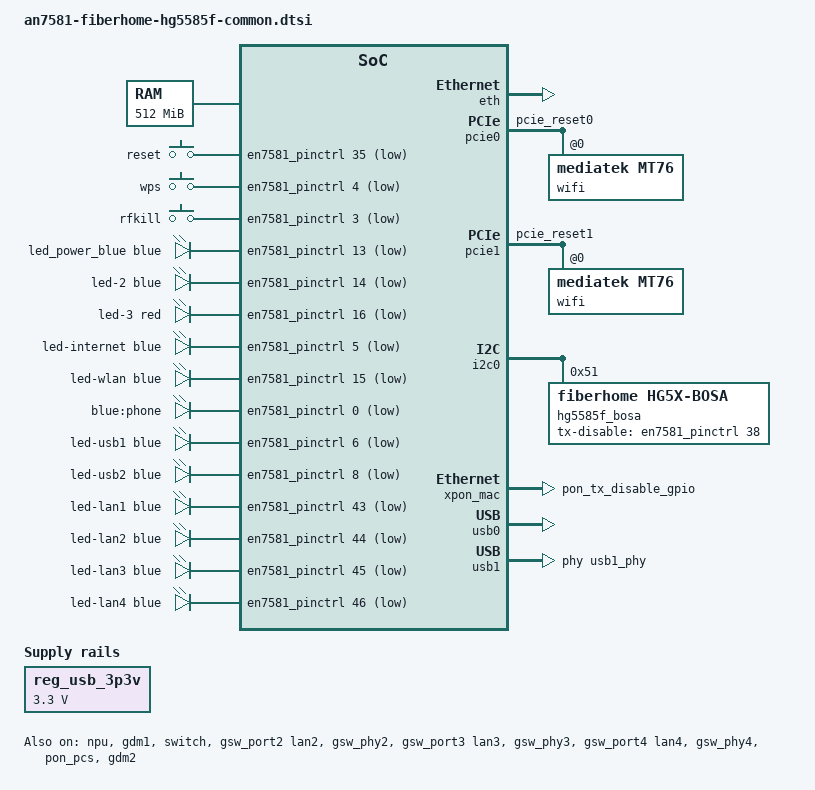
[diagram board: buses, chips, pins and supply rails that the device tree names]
// SPDX-License-Identifier: (GPL-2.0-only OR BSD-2-Clause)

/* Firmware reserves the first 2 MiB of DRAM. */
/memreserve/ 0x80000000 0x200000;

#include <dt-bindings/gpio/gpio.h>
#include <dt-bindings/input/input.h>
#include <dt-bindings/leds/common.h>
#include "an7581.dtsi"
#include "an7581-fiberhome-ubi-parts.dtsi"

/* Board resources shared by the FiberHome HG5585F variants. */

/ {
	aliases {
		/* OpenWrt diag state controls the power LED. */
		led-boot = &led_power_blue;
		led-failsafe = &led_power_blue;
		led-running = &led_power_blue;
		led-upgrade = &led_power_blue;

		serial0 = &uart1;
	};

	chosen {
		/* fitblk locates the FIT-embedded read-only rootfs through this volume. */
		rootdisk = <&ubi_fit>;
		bootargs = "console=ttyS0,115200 earlycon";
		stdout-path = "serial0:115200n8";
	};

	memory@80000000 {
		device_type = "memory";
		reg = <0x0 0x80000000 0x0 0x20000000>;
	};

	reg_usb_3p3v: regulator-usb-3p3v {
		compatible = "regulator-fixed";
		regulator-always-on;
		regulator-boot-on;
		regulator-min-microvolt = <3300000>;
		regulator-max-microvolt = <3300000>;
		regulator-name = "usb-3.3V";
	};

	keys {
		compatible = "gpio-keys";

		key-reset {
			label = "reset";
			linux,code = <KEY_RESTART>;
			/*
			 * The reset key drives GPIO35 low, i.e. GPIO_DATA1 bit 3.
			 * Keep this in sync with the U-Boot copy, which starts
			 * HTTP recovery when the key is held during boot. GPIO0 is
			 * the uart1_txd pin and never sees the key.
			 */
			gpios = <&en7581_pinctrl 35 GPIO_ACTIVE_LOW>;
			debounce-interval = <60>;
		};

		/* Handled by /etc/rc.button/wps. */
		key-wps {
			label = "wps";
			linux,code = <KEY_WPS_BUTTON>;
			gpios = <&en7581_pinctrl 4 GPIO_ACTIVE_LOW>;
			debounce-interval = <60>;
		};

		/* Handled by /etc/rc.button/rfkill, toggles the WLAN radio. */
		key-rfkill {
			label = "rfkill";
			linux,code = <KEY_RFKILL>;
			gpios = <&en7581_pinctrl 3 GPIO_ACTIVE_LOW>;
			debounce-interval = <60>;
		};
	};

	leds {
		compatible = "gpio-leds";

		/*
		 * All panel LEDs are active low. The CU variant is green and
		 * the CT variant is blue, so every LED is named blue here:
		 * only the sysfs name differs, not the wiring.
		 */

		/* Active-low power LED on GPIO13. */
		led_power_blue: led-0 {
			color = <LED_COLOR_ID_BLUE>;
			function = LED_FUNCTION_POWER;
			gpios = <&en7581_pinctrl 13 GPIO_ACTIVE_LOW>;
		};

		/* PON registration maps O1-O3 to fast blink, O4 to slow blink, and O5 on. */
		led-2 {
			color = <LED_COLOR_ID_BLUE>;
			function = LED_FUNCTION_WAN;
			gpios = <&en7581_pinctrl 14 GPIO_ACTIVE_LOW>;
			linux,default-trigger = "pon0-registration";
		};

		/* The LOS LED follows optical signal loss. */
		led-3 {
			color = <LED_COLOR_ID_RED>;
			function = LED_FUNCTION_WAN;
			gpios = <&en7581_pinctrl 16 GPIO_ACTIVE_LOW>;
			linux,default-trigger = "pon0-los";
		};

		/* Internet / broadband, follows the xPON online state. */
		led-internet {
			color = <LED_COLOR_ID_BLUE>;
			function = LED_FUNCTION_WAN_ONLINE;
			gpios = <&en7581_pinctrl 5 GPIO_ACTIVE_LOW>;
			linux,default-trigger = "pon0-online";
		};

		/* Lit while the WLAN radio is up. */
		led-wlan {
			color = <LED_COLOR_ID_BLUE>;
			function = LED_FUNCTION_WLAN;
			gpios = <&en7581_pinctrl 15 GPIO_ACTIVE_LOW>;
			linux,default-trigger = "phy0radio";
		};

		/* POTS line indicator. */
		led-phone {
			label = "blue:phone";
			gpios = <&en7581_pinctrl 0 GPIO_ACTIVE_LOW>;
		};

		/* USB2.0 port, marked USB1 on the silkscreen. */
		led-usb1 {
			color = <LED_COLOR_ID_BLUE>;
			function = LED_FUNCTION_USB;
			function-enumerator = <1>;
			gpios = <&en7581_pinctrl 6 GPIO_ACTIVE_LOW>;
		};

		/* USB3.0 port, marked USB2 on the silkscreen. */
		led-usb2 {
			color = <LED_COLOR_ID_BLUE>;
			function = LED_FUNCTION_USB;
			function-enumerator = <2>;
			gpios = <&en7581_pinctrl 8 GPIO_ACTIVE_LOW>;
		};

		/*
		 * Four panel GE ports. The netdev trigger needs a device name,
		 * so it is set in board.d/01_leds instead.
		 */
		led-lan1 {
			color = <LED_COLOR_ID_BLUE>;
			function = LED_FUNCTION_LAN;
			function-enumerator = <1>;
			gpios = <&en7581_pinctrl 43 GPIO_ACTIVE_LOW>;
		};

		led-lan2 {
			color = <LED_COLOR_ID_BLUE>;
			function = LED_FUNCTION_LAN;
			function-enumerator = <2>;
			gpios = <&en7581_pinctrl 44 GPIO_ACTIVE_LOW>;
		};

		led-lan3 {
			color = <LED_COLOR_ID_BLUE>;
			function = LED_FUNCTION_LAN;
			function-enumerator = <3>;
			gpios = <&en7581_pinctrl 45 GPIO_ACTIVE_LOW>;
		};

		led-lan4 {
			color = <LED_COLOR_ID_BLUE>;
			function = LED_FUNCTION_LAN;
			function-enumerator = <4>;
			gpios = <&en7581_pinctrl 46 GPIO_ACTIVE_LOW>;
		};
	};
};

&en7581_pinctrl {
	/* GPIO0 starts at pin 13 on AN7581. */
	gpio-ranges = <&en7581_pinctrl 0 13 50>;

	pon_pins: pon-pins {
		mux {
			/* Leave GPIO38/TX_DISABLE under optical frontend control. */
			function = "pon";
			groups = "pon_tx_disable_gpio";
		};
	};

	mdio_pins: mdio-pins {
		mux {
			function = "mdio";
			groups = "mdio";
		};
	};

	pnand_pins: pnand-pins {
		mux {
			/*
			 * Parallel NAND claims pins 4-7 (spi_cs0/clk/mosi/miso,
			 * no GPIO number) and pins 30-42. With the gpio-ranges
			 * offset of 13 below, that is GPIO17-29 - not GPIO4-7
			 * and GPIO30-42. GPIO3/4/35 stay free for the keys.
			 */
			function = "pnand";
			groups = "pnand";
		};
	};

	pcie0_rst_pins: pcie0-rst-pins {
		conf {
			/* PCIe0 provides the board reset line for MT7916D HIF2. */
			pins = "pcie_reset0";
			drive-open-drain = <1>;
		};
	};

	pcie1_rst_pins: pcie1-rst-pins {
		conf {
			/* The primary MT7916D HIF uses PCIe1. */
			pins = "pcie_reset1";
			drive-open-drain = <1>;
		};
	};
};

&{/soc} {
	/* HG5585F uses an 8-bit TSOP48 parallel NAND. */
	/delete-node/ spi@1fa10000;
};

&npu {
	status = "okay";
};

&eth {
	status = "okay";
};

&gdm1 {
	nvmem-cells = <&fiberhome_base_mac 1>;
	nvmem-cell-names = "mac-address";
	status = "okay";
};

&switch {
	pinctrl-names = "default";
	pinctrl-0 = <&mdio_pins>;
	status = "okay";
};

/* Internal PHY2, PHY3, and PHY4 provide three copper ports. */
&gsw_port2 {
	label = "lan2";
	status = "okay";
};

&gsw_phy2 {
	status = "okay";
};

&gsw_port3 {
	label = "lan3";
	status = "okay";
};

&gsw_phy3 {
	status = "okay";
};

&gsw_port4 {
	label = "lan4";
	status = "okay";
};

&gsw_phy4 {
	status = "okay";
};

&fiberhome_factory_nvmem {
	/* The MT7916 EEPROM precedes the shared identity area. */
	wifi_eeprom: eeprom@1000 {
		reg = <0x1000 0x1000>;
	};
};

/*
 * MT7916D enumerates through two PCIe HIFs: 14c3:7906 on PCIe1 is primary,
 * while PCIe0 provides HIF2.
 */
/* The wireless PCIe links negotiate Gen2 when the root ports advertise it. */
&pcie0 {
	status = "okay";
	max-link-speed = <2>;
	pinctrl-names = "default";
	pinctrl-0 = <&pcie0_rst_pins>;

	pcie@0,0 {
		reg = <0x0000 0 0 0 0>;

		wifi@0,0 {
			compatible = "mediatek,mt76";
			reg = <0x0000 0 0 0 0>;
		};
	};
};

&pcie1 {
	status = "okay";
	max-link-speed = <2>;
	pinctrl-names = "default";
	pinctrl-0 = <&pcie1_rst_pins>;

	pcie@0,0 {
		reg = <0x0000 0 0 0 0>;

		wifi@0,0 {
			compatible = "mediatek,mt76";
			reg = <0x0000 0 0 0 0>;
			nvmem-cells = <&wifi_eeprom>;
			nvmem-cell-names = "eeprom";
			airoha,npu = <&npu>;
			airoha,eth = <&eth>;
		};
	};
};

&i2c0 {
	status = "okay";

	hg5585f_bosa: optical-front-end@51 {
		/* Board data identifies either GN or UX compatible optical frontends. */
		compatible = "fiberhome,hg5x-bosa", "airoha,paged-bosa";
		reg = <0x51>;
		fiberhome,ben-active-high;
		nvmem-cells = <&pon_calibration>;
		nvmem-cell-names = "calibration";
		tx-disable-gpios = <&en7581_pinctrl 38 GPIO_ACTIVE_HIGH>;
		status = "okay";
	};
};

&pon_pcs {
	status = "okay";
};

&xpon_mac {
	pinctrl-names = "default";
	pinctrl-0 = <&pon_pins>;
	optical-front-end = <&hg5585f_bosa>;
	data-path = <&gdm2>;
	nvmem-cells = <&fiberhome_pon_serial>;
	nvmem-cell-names = "pon-serial";
	status = "okay";
};

&gdm2 {
	nvmem-cells = <&fiberhome_base_mac 0>;
	nvmem-cell-names = "mac-address";
	airoha,pon-data-path;
	status = "okay";
};

&usb0 {
	/* The USB3 port combines a USB2 companion with the SuperSpeed lane. */
	status = "okay";
	vusb33-supply = <&reg_usb_3p3v>;
};

&usb1 {
	/* The second port uses the USB2 PHY. */
	status = "okay";
	mediatek,u3p-dis-msk = <0x1>;
	phys = <&usb1_phy PHY_TYPE_USB2>;
	vusb33-supply = <&reg_usb_3p3v>;
};
